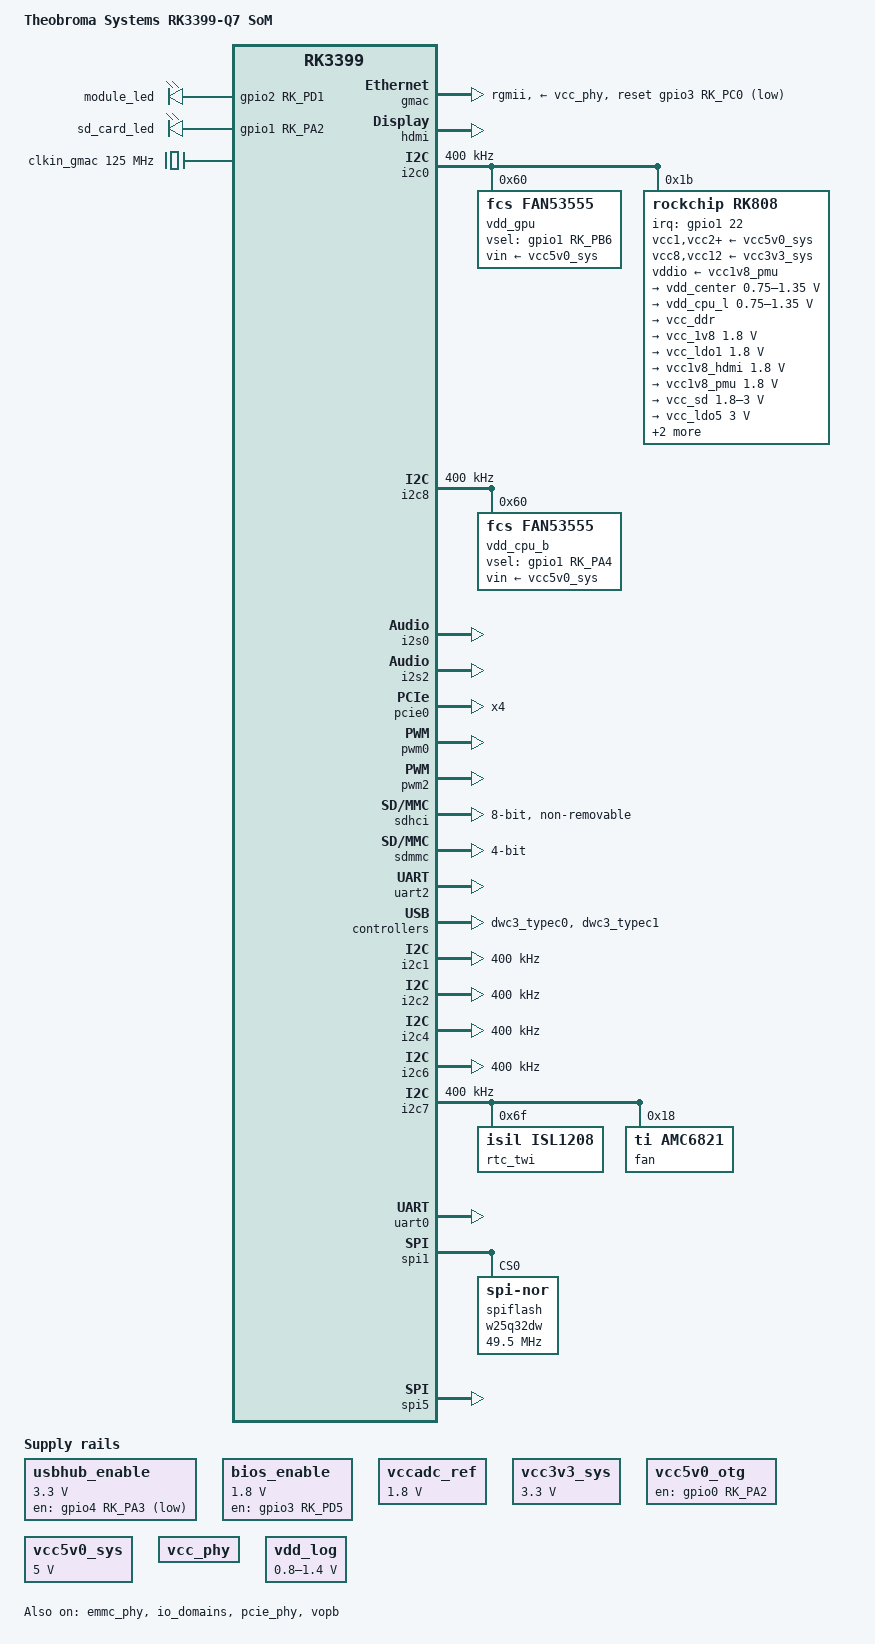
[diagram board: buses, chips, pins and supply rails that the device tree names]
// SPDX-License-Identifier: GPL-2.0+ OR X11
/*
 * (C) Copyright 2017 Theobroma Systems Design und Consulting GmbH
 */

#include <dt-bindings/pwm/pwm.h>
#include "rk3399.dtsi"

/ {
	model = "Theobroma Systems RK3399-Q7 SoM";
	compatible = "tsd,rk3399-q7", "tsd,puma", "rockchip,rk3399";

	config {
		u-boot,spl-payload-offset = <0x40000>; /* @ 256KB */
		u-boot,mmc-env-offset = <0x4000>;      /* @  16KB */
		u-boot,efi-partition-entries-offset = <0x200000>; /* 2MB */
		u-boot,boot-led = "module_led";
		sysreset-gpio = <&gpio1 RK_PA6 GPIO_ACTIVE_HIGH>;
	};

	chosen {
		stdout-path = "serial0:115200n8";
		u-boot,spl-boot-order = \
			"same-as-spl", &spiflash, &sdhci, &sdmmc;
	};

	aliases {
		spi0 = &spi1;
		spi1 = &spi5;
	};

	leds {
		compatible = "gpio-leds";
		pinctrl-names = "default";
		pinctrl-0 = <&leds_pins_puma>;

		module_led {
			label = "module_led";
			gpios = <&gpio2 RK_PD1 GPIO_ACTIVE_HIGH>;
			linux,default-trigger = "heartbeat";
		};

		sd_card_led {
			label = "sd_card_led";
			gpios = <&gpio1 RK_PA2 GPIO_ACTIVE_HIGH>;
			linux,default-trigger = "mmc0";
		};
	};

	clkin_gmac: external-gmac-clock {
		compatible = "fixed-clock";
		clock-frequency = <125000000>;
		clock-output-names = "clkin_gmac";
		#clock-cells = <0>;
	};

	dw_hdmi_audio: dw-hdmi-audio {
		status = "enabled";
		compatible = "rockchip,dw-hdmi-audio";
		#sound-dai-cells = <0>;
	};

	hdmi_codec: hdmi-codec {
		compatible = "simple-audio-card";
		simple-audio-card,format = "i2s";
		simple-audio-card,mclk-fs = <256>;
		simple-audio-card,name = "HDMI-CODEC";

		simple-audio-card,cpu {
			sound-dai = <&i2s2>;
		};

		simple-audio-card,codec {
			sound-dai = <&hdmi>;
		};
	};

	hdmi_sound: hdmi-sound {
		status = "disabled";
		compatible = "simple-audio-card";
		simple-audio-card,format = "i2s";
		simple-audio-card,mclk-fs = <256>;
		simple-audio-card,name = "rockchip,hdmi";

		simple-audio-card,cpu {
			sound-dai = <&i2s2>;
		};
		simple-audio-card,codec {
			sound-dai = <&hdmi>;
		};
	};

	usbhub_enable: usbhub_enable {
		compatible = "regulator-fixed";
		regulator-name = "usbhub_enable";
		enable-active-low;
		gpio = <&gpio4 RK_PA3 GPIO_ACTIVE_LOW>;
		pinctrl-names = "default";
		pinctrl-0 = <&host_vbus_drv>;
		regulator-boot-on;
		regulator-min-microvolt = <3300000>;
		regulator-max-microvolt = <3300000>;
	};

	/*
	 * The Qseven BIOS_DISABLE signal on the RK3399-Q7 keeps the on-module
	 * eMMC and SPI flash powered-down initially (in fact it keeps the
	 * reset signal asserted).  Even though it is an enable signal, we
	 * model this as a regulator.
	 */
	bios_enable: bios_enable {
		compatible = "regulator-fixed";
		u-boot,dm-pre-reloc;
		regulator-name = "bios_enable";
		enable-active-high;
		gpio = <&gpio3 RK_PD5 GPIO_ACTIVE_LOW>;
		regulator-always-on;
		regulator-boot-on;
		regulator-min-microvolt = <1800000>;
		regulator-max-microvolt = <1800000>;
	};

	vccadc_ref: vccadc-ref {
		compatible = "regulator-fixed";
		regulator-name = "vcc1v8_sys";
		regulator-always-on;
		regulator-boot-on;
		regulator-min-microvolt = <1800000>;
		regulator-max-microvolt = <1800000>;
	};

	vcc3v3_sys: vcc3v3-sys {
		compatible = "regulator-fixed";
		regulator-name = "vcc3v3_sys";
		regulator-always-on;
		regulator-boot-on;
		regulator-min-microvolt = <3300000>;
		regulator-max-microvolt = <3300000>;
	};

	vcc5v0_otg: vcc5v0-otg-regulator {
		compatible = "regulator-fixed";
		enable-active-high;
		gpio = <&gpio0 RK_PA2 GPIO_ACTIVE_HIGH>;
		pinctrl-names = "default";
		pinctrl-0 = <&otg_vbus_drv>;
		regulator-name = "vcc5v0_otg";
		regulator-always-on;
	};

	vcc5v0_sys: vcc5v0-sys {
		compatible = "regulator-fixed";
		regulator-name = "vcc5v0_sys";
		regulator-always-on;
		regulator-boot-on;
		regulator-min-microvolt = <5000000>;
		regulator-max-microvolt = <5000000>;
	};

	vcc_phy: vcc-phy-regulator {
		compatible = "regulator-fixed";
		regulator-name = "vcc_phy";
		regulator-always-on;
		regulator-boot-on;
	};

	vdd_log: vdd-log {
		compatible = "pwm-regulator";
		pwms = <&pwm2 0 25000 1>;
		regulator-name = "vdd_log";
		regulator-min-microvolt = <800000>;
		regulator-max-microvolt = <1400000>;
		regulator-always-on;
		regulator-boot-on;
		regulator-init-microvolt = <950000>;
	};
};

&emmc_phy {
	status = "okay";
};

&gmac {
	phy-supply = <&vcc_phy>;
	phy-mode = "rgmii";
	clock_in_out = "input";
	snps,reset-gpio = <&gpio3 RK_PC0 GPIO_ACTIVE_LOW>;
	snps,reset-active-low;
	snps,reset-delays-us = <2 10000 50000>;
	assigned-clocks = <&cru SCLK_RMII_SRC>;
	assigned-clock-parents = <&clkin_gmac>;
	pinctrl-names = "default";
	pinctrl-0 = <&rgmii_pins>;
	tx_delay = <0x10>;
	rx_delay = <0x10>;
	status = "okay";
};

&hdmi {
	#sound-dai-cells = <0>;
	status = "okay";
};

&i2c0 {
	status = "okay";
	i2c-scl-rising-time-ns = <168>;
	i2c-scl-falling-time-ns = <4>;
	clock-frequency = <400000>;

	vdd_gpu: vdd_gpu {
		status = "okay";
		compatible = "fcs,fan53555";
		reg = <0x60>;
		vsel-gpios = <&gpio1 RK_PB6 GPIO_ACTIVE_HIGH>;
		vin-supply = <&vcc5v0_sys>;
		regulator-compatible = "fan53555-reg";
		regulator-name = "vdd_gpu";
		regulator-min-microvolt = <600000>;
		regulator-max-microvolt = <1230000>;
		regulator-ramp-delay = <1000>;
		fcs,suspend-voltage-selector = <1>;
		regulator-always-on;
		regulator-boot-on;
		regulator-initial-state = <3>;
			regulator-state-mem {
			regulator-off-in-suspend;
		};
	};

	rk808: pmic@1b {
		compatible = "rockchip,rk808";
		reg = <0x1b>;
		interrupt-parent = <&gpio1>;
		interrupts = <22 IRQ_TYPE_LEVEL_LOW>;  // TODO check interrupt?
		pinctrl-names = "default";
		pinctrl-0 = <&pmic_int_l>;
		rockchip,system-power-controller;
		wakeup-source;
		#clock-cells = <1>;
		clock-output-names = "xin32k", "rk808-clkout2";

		vcc1-supply = <&vcc5v0_sys>;
		vcc2-supply = <&vcc5v0_sys>;
		vcc3-supply = <&vcc5v0_sys>;
		vcc4-supply = <&vcc5v0_sys>;
		vcc6-supply = <&vcc5v0_sys>;
		vcc7-supply = <&vcc5v0_sys>;
		vcc8-supply = <&vcc3v3_sys>;
		vcc9-supply = <&vcc5v0_sys>;
		vcc10-supply = <&vcc5v0_sys>;
		vcc11-supply = <&vcc5v0_sys>;
		vcc12-supply = <&vcc3v3_sys>;
		vddio-supply = <&vcc1v8_pmu>;

		regulators {
			vdd_center: DCDC_REG1 {
				regulator-always-on;
				regulator-boot-on;
				regulator-min-microvolt = <750000>;
				regulator-max-microvolt = <1350000>;
				regulator-ramp-delay = <6001>;
				regulator-name = "vdd_center";
				regulator-state-mem {
					regulator-off-in-suspend;
				};
			};

			vdd_cpu_l: DCDC_REG2 {
				regulator-always-on;
				regulator-boot-on;
				regulator-min-microvolt = <750000>;
				regulator-max-microvolt = <1350000>;
				regulator-ramp-delay = <6001>;
				regulator-name = "vdd_cpu_l";
				regulator-state-mem {
					regulator-off-in-suspend;
				};
			};

			vcc_ddr: DCDC_REG3 {
				regulator-always-on;
				regulator-boot-on;
				regulator-name = "vcc_ddr";
				regulator-state-mem {
					regulator-on-in-suspend;
				};
			};

			vcc_1v8: DCDC_REG4 {
				regulator-always-on;
				regulator-boot-on;
				regulator-min-microvolt = <1800000>;
				regulator-max-microvolt = <1800000>;
				regulator-name = "vcc_1v8";
				regulator-state-mem {
					regulator-on-in-suspend;
					regulator-suspend-microvolt = <1800000>;
				};
			};

			vcc_ldo1: LDO_REG1 {
				regulator-boot-on;
				regulator-min-microvolt = <1800000>;
				regulator-max-microvolt = <1800000>;
				regulator-name = "vcc_ldo1";
				regulator-state-mem {
					regulator-off-in-suspend;
				};
			};

			vcc1v8_hdmi: LDO_REG2 {
				regulator-always-on;
				regulator-boot-on;
				regulator-min-microvolt = <1800000>;
				regulator-max-microvolt = <1800000>;
				regulator-name = "vcc1v8_hdmi";
				regulator-state-mem {
					regulator-off-in-suspend;
				};
			};

			vcc1v8_pmu: LDO_REG3 {
				regulator-always-on;
				regulator-boot-on;
				regulator-min-microvolt = <1800000>;
				regulator-max-microvolt = <1800000>;
				regulator-name = "vcc1v8_pmu";
				regulator-state-mem {
					regulator-on-in-suspend;
					regulator-suspend-microvolt = <1800000>;
				};
			};

			vcc_sd: LDO_REG4 {
				regulator-always-on;
				regulator-boot-on;
				regulator-min-microvolt = <1800000>;
				regulator-max-microvolt = <3000000>;
				regulator-name = "vcc_sd";
				regulator-state-mem {
					regulator-on-in-suspend;
					regulator-suspend-microvolt = <3000000>;
				};
			};

			vcc_ldo5: LDO_REG5 {
				regulator-boot-on;
				regulator-min-microvolt = <3000000>;
				regulator-max-microvolt = <3000000>;
				regulator-name = "vcc_ldo5";
				regulator-state-mem {
					regulator-off-in-suspend;
				};
			};

			vcc_ldo6: LDO_REG6 {
				regulator-boot-on;
				regulator-min-microvolt = <1500000>;
				regulator-max-microvolt = <1500000>;
				regulator-name = "vcc_ldo6";
				regulator-state-mem {
					regulator-off-in-suspend;
				};
			};

			vcc0v9_hdmi: LDO_REG7 {
				regulator-always-on;
				regulator-boot-on;
				regulator-min-microvolt = <900000>;
				regulator-max-microvolt = <900000>;
				regulator-name = "vcc0v9_hdmi";
				regulator-state-mem {
					regulator-off-in-suspend;
				};
			};

			vcc_efuse: LDO_REG8 {
				regulator-always-on;
				regulator-boot-on;
				regulator-min-microvolt = <1800000>;
				regulator-max-microvolt = <1800000>;
				regulator-name = "vcc_efuse";
				regulator-state-mem {
					regulator-off-in-suspend;
				};
			};

			vcc3v3_s3: SWITCH_REG1 {
				regulator-always-on;
				regulator-boot-on;
				regulator-name = "vcc3v3_s3";
				regulator-state-mem {
					regulator-off-in-suspend;
				};
			};

			vcc3v3_s0: SWITCH_REG2 {
				regulator-always-on;
				regulator-boot-on;
				regulator-name = "vcc3v3_s0";
				regulator-state-mem {
					regulator-off-in-suspend;
				};
			};
		};
	};
};

&i2c8 {
	status = "okay";
	clock-frequency = <400000>;

	vdd_cpu_b: vdd_cpu_b {
		status = "okay";
		compatible = "fcs,fan53555";
		reg = <0x60>;
		vsel-gpios = <&gpio1 RK_PA4 GPIO_ACTIVE_HIGH>;
		vin-supply = <&vcc5v0_sys>;
		regulator-compatible = "fan53555-reg";
		regulator-name = "vdd_cpu_b";
		regulator-min-microvolt = <600000>;
		regulator-max-microvolt = <1230000>;
		regulator-ramp-delay = <1000>;
		fcs,suspend-voltage-selector = <1>;
		regulator-always-on;
		regulator-boot-on;
		regulator-initial-state = <3>;
			regulator-state-mem {
			regulator-off-in-suspend;
		};
	};
};

&i2s0 {
	status = "okay";
	rockchip,i2s-broken-burst-len;
	rockchip,playback-channels = <8>;
	rockchip,capture-channels = <8>;
	#sound-dai-cells = <0>;
};

&i2s2 {
	#sound-dai-cells = <0>;
	status = "okay";
};

&io_domains {
	status = "okay";

	bt656-supply = <&vcc_1v8>;	/* bt656_gpio2ab_ms */
	audio-supply = <&vcc_1v8>;	/* audio_gpio3d4a_ms */
	sdmmc-supply = <&vcc_sd>;	/* sdmmc_gpio4b_ms */
	gpio1830-supply = <&vcc_1v8>;	/* gpio1833_gpio4cd_ms */
};

&pcie0 {
	assigned-clocks = <&cru SCLK_PCIEPHY_REF>;
	assigned-clock-parents = <&cru SCLK_PCIEPHY_REF100M>;
	assigned-clock-rates = <100000000>;
	ep-gpios = <&gpio4 RK_PC6 GPIO_ACTIVE_HIGH>;
	num-lanes = <4>;
	pinctrl-names = "default";
	pinctrl-0 = <&pcie_clkreqn>;
	status = "okay";
};

&pcie_phy {
		status = "okay";
};

&pmu_io_domains {
	status = "okay";
	pmu1830-supply = <&vcc_1v8>;
};

&pwm0 {
	status = "okay";
};

&pwm2 {
	status = "okay";
};

&sdhci {
	bus-width = <8>;
	mmc-hs400-1_8v;
	supports-emmc;
	non-removable;
	keep-power-in-suspend;
	mmc-hs400-enhanced-strobe;
	status = "okay";
};

&sdmmc {
	clock-frequency = <150000000>;
	max-frequency = <40000000>;
	supports-sd;
	bus-width = <4>;
	cap-mmc-highspeed;
	cap-sd-highspeed;
	disable-wp;
	num-slots = <1>;
	vqmmc-supply = <&vcc_sd>;
	pinctrl-names = "default";
	pinctrl-0 = <&sdmmc_clk &sdmmc_cmd &sdmmc_cd &sdmmc_bus4>;
	status = "okay";
};

&uart2 {
	status = "okay";
};

&usb_host0_ehci {
	status = "disabled";
};

&usb_host0_ohci {
	status = "disabled";
};

&dwc3_typec0 {
	status = "okay";
};

&usb_host1_ehci {
	status = "disabled";
};

&usb_host1_ohci {
	status = "disabled";
};

&dwc3_typec1 {
	status = "okay";
	tsd,usb-port-power = "usbhub_enable";
};

&vopb {
	status = "okay";
};

&gpio1 {
	u-boot,dm-pre-reloc;
};

&gpio3 {
	u-boot,dm-pre-reloc;
};

&pinctrl {
	/* Pins that are not explicitely used by any devices */
	pinctrl-names = "default";
	pinctrl-0 = <&puma_pin_hog>;

	hog {
		puma_pin_hog: puma_pin_hog {
			rockchip,pins =
				/* We need pull-ups on Q7 buttons */
				<RK_GPIO0 RK_PA4 RK_FUNC_GPIO &pcfg_pull_up>, /* LID_BTN# */
				<RK_GPIO0 RK_PB2 RK_FUNC_GPIO &pcfg_pull_up>, /* BATLOW# */
				<RK_GPIO0 RK_PB3 RK_FUNC_GPIO &pcfg_pull_up>, /* SLP_BTN# */
				<RK_GPIO0 RK_PB1 RK_FUNC_GPIO &pcfg_pull_up>; /* BIOS_DISABLE# */
		};
	};

	pmic {
		pmic_int_l: pmic-int-l {
			rockchip,pins =
				<RK_GPIO1 RK_PC6 RK_FUNC_GPIO &pcfg_pull_up>;
		};
	};

	leds_pins_puma: led_pins@0 {
			rockchip,pins =
				<RK_GPIO2 RK_PD1 RK_FUNC_GPIO &pcfg_pull_none>,
				<RK_GPIO1 RK_PA2 RK_FUNC_GPIO &pcfg_pull_none>;
	};

	usb2 {
		otg_vbus_drv: otg-vbus-drv {
			rockchip,pins =
				<RK_GPIO0 RK_PA2 RK_FUNC_GPIO &pcfg_pull_none>;
		};

		host_vbus_drv: host-vbus-drv {
			rockchip,pins =
				<RK_GPIO4 RK_PA3 RK_FUNC_GPIO &pcfg_pull_none>;
		};
	};

	i2c8 {
		i2c8_xfer_a: i2c8-xfer {
			rockchip,pins =
				<RK_GPIO1 RK_PC5 RK_FUNC_1 &pcfg_pull_up>,
				<RK_GPIO1 RK_PC4 RK_FUNC_1 &pcfg_pull_up>;
		};
	};
};

&i2c1 {
	status = "okay";
	clock-frequency = <400000>;
};
&i2c2 {
	status = "okay";
	clock-frequency = <400000>;
};
&i2c4 {
	status = "okay";
	clock-frequency = <400000>;
};
&i2c6 {
	status = "okay";
	clock-frequency = <400000>;
};

&i2c6_xfer {
	/* Enable pull-ups, the pins would float otherwise. */
	rockchip,pins =
		<RK_GPIO2 RK_PB2 RK_FUNC_2 &pcfg_pull_up>,
		<RK_GPIO2 RK_PB1 RK_FUNC_2 &pcfg_pull_up>;
};

&i2c7 {
	status = "okay";
	clock-frequency = <400000>;

	rtc_twi: rtc@6f {
		compatible = "isil,isl1208";
		reg = <0x6f>;
	};
	fan: fan@18 {
		compatible = "ti,amc6821";
		reg = <0x18>;
		cooling-min-state = <0>;
		cooling-max-state = <9>;
		#cooling-cells = <2>;
	};
};

&uart0 {
	pinctrl-names = "default";
	pinctrl-0 = <&uart0_xfer &uart0_cts>;
	status = "okay";
};


&spi1 {
	status = "okay";

	#address-cells = <1>;
	#size-cells = <0>;

	spiflash: w25q32dw@0 {
		u-boot,dm-pre-reloc;

		compatible = "jedec,spi-nor";
		reg = <0>;
		spi-max-frequency = <49500000>;
		spi-cpol;
		spi-cpha;
	};
};

&spi5 {
	status = "okay";
};
